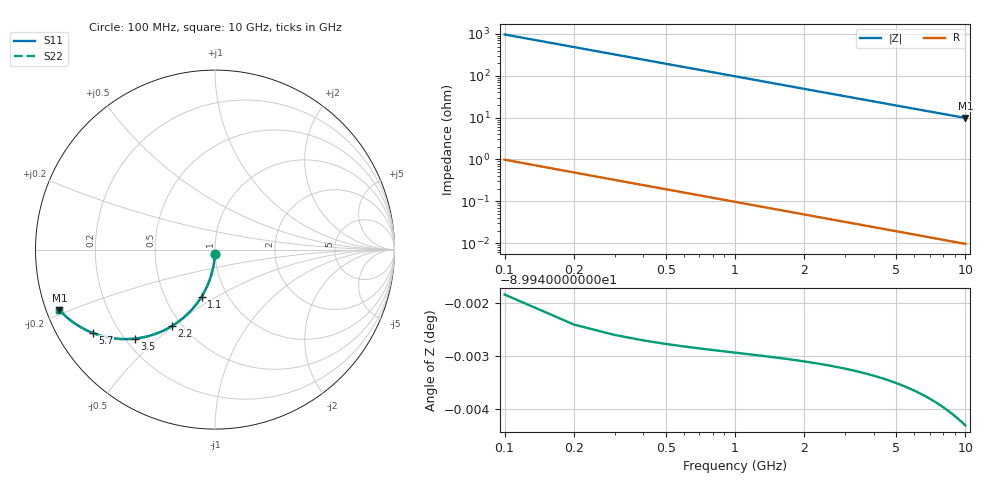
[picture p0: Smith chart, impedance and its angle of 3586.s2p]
# Hz S RI R 50.00
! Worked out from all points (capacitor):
!   100 points, 100 MHz to 10 GHz, reference 50 ohm
!   read as one part in shunt: C = 1.64 pF near 100 MHz
!   lowest |Z| = 9.84 ohm at 10 GHz (marker M1)
!   S11 on the Smith chart (normalised r, x): 100 MHz: 1.00, -0.05; 1.1 GHz: 0.76, -0.43; 2.2 GHz: 0.44, -0.50; 3.5 GHz: 0.24, -0.42; 5.7 GHz: 0.11, -0.31; 10 GHz: 0.04, -0.19
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1e8  -0.000676 -0.0257  0.9993 -0.0257  0.9993 -0.0257  -0.000676 -0.0257
2e8  -0.00268 -0.0512  0.9973 -0.0513  0.9973 -0.0513  -0.00268 -0.0512
3e8  -0.00598 -0.0766  0.994 -0.0767  0.994 -0.0767  -0.00598 -0.0766
4e8  -0.0105 -0.1016  0.9894 -0.1018  0.9894 -0.1018  -0.0105 -0.1016
5e8  -0.0164 -0.1263  0.9836 -0.1265  0.9836 -0.1265  -0.0164 -0.1263
6e8  -0.0234 -0.1505  0.9766 -0.1507  0.9766 -0.1507  -0.0234 -0.1505
7e8  -0.0315 -0.1741  0.9685 -0.1744  0.9685 -0.1744  -0.0315 -0.1741
9e8  -0.051 -0.2193  0.949 -0.2196  0.949 -0.2196  -0.051 -0.2193
1.1e9  -0.0742 -0.2614  0.9258 -0.2618  0.9258 -0.2618  -0.0742 -0.2614
1.4e9  -0.1148 -0.318  0.8852 -0.3186  0.8852 -0.3186  -0.1148 -0.318
1.8e9  -0.1764 -0.3802  0.8236 -0.381  0.8236 -0.381  -0.1764 -0.3802
2.2e9  -0.2422 -0.4274  0.7578 -0.4284  0.7578 -0.4284  -0.2422 -0.4274
2.8e9  -0.3408 -0.4729  0.6592 -0.4741  0.6592 -0.4741  -0.3408 -0.4729
3.4e9  -0.4322 -0.4941  0.5678 -0.4956  0.5678 -0.4956  -0.4322 -0.4941
3.5e9  -0.4464 -0.4959  0.5535 -0.4974  0.5535 -0.4974  -0.4464 -0.4959
4.3e9  -0.5486 -0.4962  0.4514 -0.4981  0.4514 -0.4981  -0.5486 -0.4962
5.1e9  -0.6306 -0.481  0.3694 -0.4832  0.3694 -0.4832  -0.6306 -0.481
5.7e9  -0.6805 -0.4645  0.3194 -0.467  0.3194 -0.467  -0.6805 -0.4645
6.7e9  -0.7461 -0.4333  0.2539 -0.4362  0.2539 -0.4362  -0.7461 -0.4333
7.5e9  -0.7862 -0.4078  0.2138 -0.4111  0.2138 -0.4111  -0.7862 -0.4078
8.4e9  -0.8217 -0.3804  0.1783 -0.3841  0.1783 -0.3841  -0.8217 -0.3804
1e10  -0.867 -0.3369  0.133 -0.3413  0.133 -0.3413  -0.867 -0.3369
